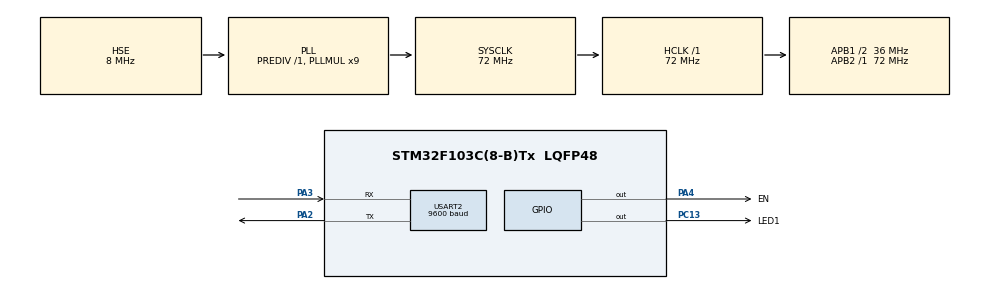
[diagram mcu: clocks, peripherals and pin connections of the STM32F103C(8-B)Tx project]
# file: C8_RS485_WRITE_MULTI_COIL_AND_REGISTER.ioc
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Mcu.Family=STM32F1
Mcu.Name=STM32F103C(8-B)Tx
Mcu.Package=LQFP48
NVIC.PriorityGroup=NVIC_PRIORITYGROUP_4
NVIC.USART2_IRQn=true\:0\:0\:false\:false\:true\:true\:true\:true
PA13.Mode=Serial_Wire
PA13.Signal=SYS_JTMS-SWDIO
PA14.Mode=Serial_Wire
PA14.Signal=SYS_JTCK-SWCLK
PA2.Mode=Asynchronous
PA2.Signal=USART2_TX
PA3.Mode=Asynchronous
PA3.Signal=USART2_RX
PA4.GPIO_Label=EN
PA4.Signal=GPIO_Output
PC13-TAMPER-RTC.GPIO_Label=LED1
PC13-TAMPER-RTC.Signal=GPIO_Output
PD0-OSC_IN.Mode=HSE-External-Oscillator
PD0-OSC_IN.Signal=RCC_OSC_IN
PD1-OSC_OUT.Mode=HSE-External-Oscillator
PD1-OSC_OUT.Signal=RCC_OSC_OUT
ProjectManager.HeapSize=0x200
ProjectManager.StackSize=0x400
ProjectManager.TargetToolchain=STM32CubeIDE
RCC.AHBFreq_Value=72000000
RCC.APB1CLKDivider=RCC_HCLK_DIV2
RCC.APB1Freq_Value=36000000
RCC.APB1TimFreq_Value=72000000
RCC.APB2Freq_Value=72000000
RCC.APB2TimFreq_Value=72000000
RCC.HCLKFreq_Value=72000000
RCC.PLLMUL=RCC_PLL_MUL9
RCC.PLLSourceVirtual=RCC_PLLSOURCE_HSE
RCC.SYSCLKFreq_VALUE=72000000
RCC.SYSCLKSource=RCC_SYSCLKSOURCE_PLLCLK
RCC.USBFreq_Value=72000000
USART2.BaudRate=9600
USART2.VirtualMode=VM_ASYNC
board=custom

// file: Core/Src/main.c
/* USER CODE BEGIN Header */
/**
 ******************************************************************************
 * @file           : main.c
 * @brief          : Main program body
 ******************************************************************************
 * @attention
 *
 * Copyright (c) 2023 STMicroelectronics.
 * All rights reserved.
 *
 * This software is licensed under terms that can be found in the LICENSE file
 * in the root directory of this software component.
 * If no LICENSE file comes with this software, it is provided AS-IS.
 *
 ******************************************************************************
 */
/* USER CODE END Header */
#include "main.h"

/* USER CODE BEGIN Includes */
#include "stdio.h"
#include "string.h"
#include "modbus_crc.h"
/* USER CODE END Includes */

UART_HandleTypeDef huart2;

void SystemClock_Config(void);
static void MX_GPIO_Init(void);
static void MX_USART2_UART_Init(void);

/* USER CODE BEGIN 0 */
#define SizeDataRx 128
#define SizeDataTx 11
uint8_t DataRx[SizeDataRx];
uint8_t DataTx[SizeDataTx];
uint8_t Data[10];
uint8_t flagRx;
void HAL_UARTEx_RxEventCallback(UART_HandleTypeDef *huart, uint16_t Size) {
	flagRx = 1;
	HAL_UARTEx_ReceiveToIdle_IT(&huart2, DataRx, sizeof(DataRx));
}
void SendData(uint8_t *dataTx) {
	HAL_GPIO_WritePin(EN_GPIO_Port, EN_Pin, 1);
	HAL_UART_Transmit(&huart2, dataTx, 11, 2000);
	HAL_GPIO_WritePin(EN_GPIO_Port, EN_Pin, 0);
}
/* USER CODE END 0 */

int main(void) {

	/* MCU Configuration--------------------------------------------------------*/

	/* Reset of all peripherals, Initializes the Flash interface and the Systick. */
	HAL_Init();

	/* Configure the system clock */
	SystemClock_Config();

	/* Initialize all configured peripherals */
	MX_GPIO_Init();
	MX_USART2_UART_Init();
	/* USER CODE BEGIN 2 */
	HAL_UARTEx_ReceiveToIdle_IT(&huart2, DataRx, sizeof(DataRx));

	DataTx[0] = 0x05;  // slave address
	DataTx[1] = 0x0F;  // Force Multiple coils

	DataTx[2] = 0;  // coil address high
	DataTx[3] = 3;  // coil address low
	//The coil address will be 00000000 00000011 = 3 + 1 = 4

	DataTx[4] = 0;  // no. of coils high
	DataTx[5] = 0x0F;  // no. of coils low
	// Total no. of coils = 00000000 00001111 = 15 coils

	DataTx[6] = 2; // Byte count (15 coils would need 2 bytes)

	DataTx[7] = 0x35;  // Data for first 8 coils
	DataTx[8] = 0x74;  // Data for next 8 coils (actually 7 coils)

	uint16_t crc = crc16(DataTx, 9);
	DataTx[9] = crc & 0xFF;   // CRC LOW
	DataTx[10] = (crc >> 8) & 0xFF;  // CRC HIGH

	//SendData(DataTx);
	/* USER CODE END 2 */

	/* Infinite loop */
	/* USER CODE BEGIN WHILE */
	while (1) {
		SendData(DataTx);
		HAL_Delay(10000);
		/* USER CODE END WHILE */

	}
}

void SystemClock_Config(void) {
	RCC_OscInitTypeDef RCC_OscInitStruct = { 0 };
	RCC_ClkInitTypeDef RCC_ClkInitStruct = { 0 };

	/** Initializes the RCC Oscillators according to the specified parameters
	 * in the RCC_OscInitTypeDef structure.
	 */
	RCC_OscInitStruct.OscillatorType = RCC_OSCILLATORTYPE_HSE;
	RCC_OscInitStruct.HSEState = RCC_HSE_ON;
	RCC_OscInitStruct.HSEPredivValue = RCC_HSE_PREDIV_DIV1;
	RCC_OscInitStruct.HSIState = RCC_HSI_ON;
	RCC_OscInitStruct.PLL.PLLState = RCC_PLL_ON;
	RCC_OscInitStruct.PLL.PLLSource = RCC_PLLSOURCE_HSE;
	RCC_OscInitStruct.PLL.PLLMUL = RCC_PLL_MUL9;
	if (HAL_RCC_OscConfig(&RCC_OscInitStruct) != HAL_OK) {
		Error_Handler();
	}

	/** Initializes the CPU, AHB and APB buses clocks
	 */
	RCC_ClkInitStruct.ClockType = RCC_CLOCKTYPE_HCLK | RCC_CLOCKTYPE_SYSCLK
			| RCC_CLOCKTYPE_PCLK1 | RCC_CLOCKTYPE_PCLK2;
	RCC_ClkInitStruct.SYSCLKSource = RCC_SYSCLKSOURCE_PLLCLK;
	RCC_ClkInitStruct.AHBCLKDivider = RCC_SYSCLK_DIV1;
	RCC_ClkInitStruct.APB1CLKDivider = RCC_HCLK_DIV2;
	RCC_ClkInitStruct.APB2CLKDivider = RCC_HCLK_DIV1;

	if (HAL_RCC_ClockConfig(&RCC_ClkInitStruct, FLASH_LATENCY_2) != HAL_OK) {
		Error_Handler();
	}
}

static void MX_USART2_UART_Init(void) {

	huart2.Instance = USART2;
	huart2.Init.BaudRate = 9600;
	huart2.Init.WordLength = UART_WORDLENGTH_8B;
	huart2.Init.StopBits = UART_STOPBITS_1;
	huart2.Init.Parity = UART_PARITY_NONE;
	huart2.Init.Mode = UART_MODE_TX_RX;
	huart2.Init.HwFlowCtl = UART_HWCONTROL_NONE;
	huart2.Init.OverSampling = UART_OVERSAMPLING_16;
	if (HAL_UART_Init(&huart2) != HAL_OK) {
		Error_Handler();
	}

}

static void MX_GPIO_Init(void) {
	GPIO_InitTypeDef GPIO_InitStruct = { 0 };

	/* GPIO Ports Clock Enable */
	__HAL_RCC_GPIOC_CLK_ENABLE();
	__HAL_RCC_GPIOD_CLK_ENABLE();
	__HAL_RCC_GPIOA_CLK_ENABLE();

	/*Configure GPIO pin Output Level */
	HAL_GPIO_WritePin(LED1_GPIO_Port, LED1_Pin, GPIO_PIN_RESET);

	/*Configure GPIO pin Output Level */
	HAL_GPIO_WritePin(EN_GPIO_Port, EN_Pin, GPIO_PIN_RESET);

	/*Configure GPIO pin : LED1_Pin */
	GPIO_InitStruct.Pin = LED1_Pin;
	GPIO_InitStruct.Mode = GPIO_MODE_OUTPUT_PP;
	GPIO_InitStruct.Pull = GPIO_NOPULL;
	GPIO_InitStruct.Speed = GPIO_SPEED_FREQ_LOW;
	HAL_GPIO_Init(LED1_GPIO_Port, &GPIO_InitStruct);

	/*Configure GPIO pin : EN_Pin */
	GPIO_InitStruct.Pin = EN_Pin;
	GPIO_InitStruct.Mode = GPIO_MODE_OUTPUT_PP;
	GPIO_InitStruct.Pull = GPIO_NOPULL;
	GPIO_InitStruct.Speed = GPIO_SPEED_FREQ_LOW;
	HAL_GPIO_Init(EN_GPIO_Port, &GPIO_InitStruct);

}

void Error_Handler(void) {
	__disable_irq();
	while (1) {
	}
}
